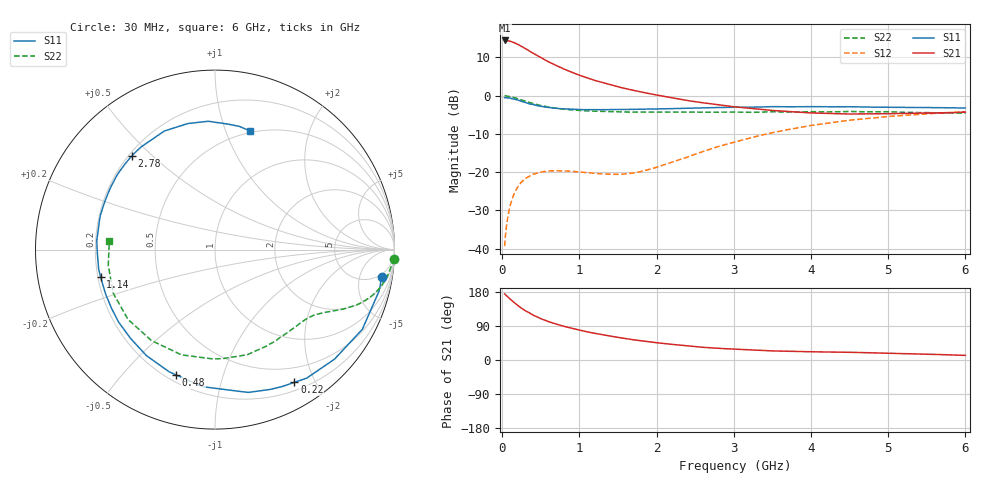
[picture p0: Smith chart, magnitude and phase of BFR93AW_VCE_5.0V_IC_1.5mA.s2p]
! Infineon Technologies  Discrete & RF Semiconductors
! BFR93AW
! VCE =  5.0 V,  IC =  1.5 mA
! Common Emitter S-Parameters:  Nov 2015
# GHz  S  MA  R  50
!  f  S11  S21  S12  S22
! GHz  MAG  ANG  MAG  ANG  MAG  ANG  MAG  ANG
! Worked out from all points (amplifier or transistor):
!   206 points, 30 MHz to 6 GHz, reference 50 ohm
!   highest |S21| = 14.4 dB at 30 MHz (marker M1)
!   |S21| within 3 dB of that: start of sweep to 370.2 MHz
!   unconditionally stable (mu >= 1): 1.295 GHz to 2.317 GHz; 5.966 GHz to end of sweep
!   at 200 MHz: K = 0.14, MSG = 18.6 dB, |S12| = -23.9 dB
!   at 1.56 GHz: K = 1.17, MAG = 8.8 dB, |S12| = -20.5 dB
!   at 6 GHz: K = 1.00, MAG = -0.2 dB, |S12| = -4.2 dB
!   S11 on the Smith chart (normalised r, x): 30 MHz: 4, -11; 220 MHz: 0.30, -1.72; 480 MHz: 0.24, -0.71; 1.14 GHz: 0.21, -0.11; 2.78 GHz: 0.21, +0.43; 6 GHz: 0.49, +1.22
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0.03  0.9414 -9.5  5.257 174.4  0.0108 85.0  0.9997 -2.9
0.055  0.9392 -15.6  5.234 169.5  0.02 80.7  0.9883 -5.0
0.1  0.9334 -28.4  5.156 161.3  0.0362 74.7  0.9715 -9.0
0.15  0.9034 -42.5  4.946 152.0  0.0514 66.6  0.9446 -13.0
0.2  0.8797 -54.5  4.683 144.0  0.064 60.4  0.9126 -16.3
0.22  0.862 -59.1  4.56 141.0  0.0682 57.8  0.8984 -17.4
0.26  0.838 -68.3  4.34 135.1  0.0764 53.4  0.8711 -19.6
0.3  0.817 -76.9  4.117 129.8  0.083 49.5  0.8449 -21.5
0.4  0.7669 -95.2  3.577 118.3  0.0941 42.1  0.7869 -24.9
0.48  0.731 -107.3  3.22 111.0  0.0992 37.6  0.75 -27.0
0.6  0.7035 -122.9  2.76 101.1  0.1036 32.8  0.7084 -29.5
0.7  0.6826 -133.6  2.473 94.7  0.1045 30.4  0.6839 -31.4
0.82  0.6692 -144.6  2.179 87.7  0.1038 28.9  0.6606 -33.6
1.04  0.6559 -160.4  1.789 77.0  0.0999 29.3  0.6362 -37.9
1.14  0.6554 -166.7  1.653 72.7  0.0979 30.6  0.6287 -40.2
1.6  0.6594 170.8  1.232 56.4  0.095 46.5  0.611 -51.0
2.02  0.6708 155.1  1.01 45.1  0.1178 64.1  0.6088 -62.5
2.78  0.6984 131.7  0.765 31.1  0.2136 74.1  0.6082 -84.8
3.1  0.7048 123.2  0.7 27.7  0.2619 71.9  0.6066 -94.3
4.1  0.7165 100.4  0.59 21.4  0.4208 58.2  0.6148 -128.3
5.1  0.7028 84.0  0.583 17.6  0.5423 41.2  0.6106 -159.7
6  0.6892 73.4  0.607 12.1  0.6162 27.7  0.5907 175.3
